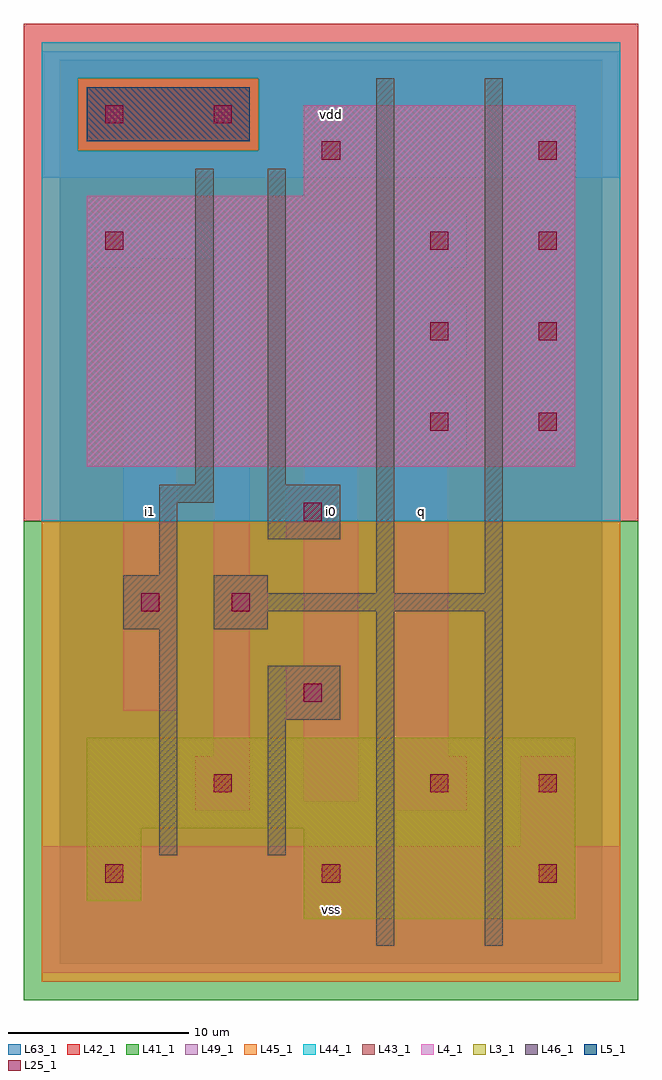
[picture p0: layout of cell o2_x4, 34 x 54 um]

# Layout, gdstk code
import gdstk
lib = gdstk.Library(unit=1e-6, precision=1e-09)
def R(c, l, rs):  # rectangles x0, y0, x1, y1
    for r in rs: c.add(gdstk.rectangle(r[:2], r[2:], *l))
def A(c, l, x, y, w, h, nx, ny, dx, dy):  # array of equal rectangles
    R(c, l, [(x+i*dx, y+j*dy, x+i*dx+w, y+j*dy+h) for i in range(nx) for j in range(ny)])
L3_1 = (3, 1)
L4_1 = (4, 1)
L5_1 = (5, 1)
L25_1 = (25, 1)
L41_1 = (41, 1)
L42_1 = (42, 1)
L43_1 = (43, 1)
L44_1 = (44, 1)
L45_1 = (45, 1)
L46_1 = (46, 1)
L49_1 = (49, 1)
L63_1 = (63, 1)

o2_x4 = lib.new_cell('o2_x4')
R(o2_x4, L3_1, [(13.5,2.5,28.5,7.5), (1.5,3.5,4.5,7.5), (1.5,7.5,28.5,12.5)])
R(o2_x4, L4_1, [(1.5,27.5,28.5,42.5), (13.5,42.5,28.5,47.5)])
R(o2_x4, L5_1, [(1.5,45.5,10.5,48.5)])
A(o2_x4, L25_1, 2.5, 4.5, 1, 1, 3, 1, 12, 0)
A(o2_x4, L25_1, 20.5, 29.5, 1, 1, 1, 3, 0, 5)
A(o2_x4, L25_1, 26.5, 29.5, 1, 1, 1, 4, 0, 5)
R(o2_x4, L25_1, [(8.5,9.5,9.5,10.5), (20.5,9.5,21.5,10.5), (26.5,9.5,27.5,10.5), (13.5,14.5,14.5,15.5), (4.5,19.5,5.5,20.5), (9.5,19.5,10.5,20.5), (13.5,24.5,14.5,25.5), (2.5,39.5,3.5,40.5), (14.5,44.5,15.5,45.5), (2.5,46.5,3.5,47.5), (8.5,46.5,9.5,47.5)])
R(o2_x4, L41_1, [(-2,-2,32,24.5)])
R(o2_x4, L42_1, [(-2,24.5,32,52)])
R(o2_x4, L43_1, [(13.5,2.5,28.5,7.5), (1.5,3.5,4.5,7.5), (1.5,7.5,28.5,12.5), (1.5,27.5,28.5,42.5), (13.5,42.5,28.5,47.5), (1.5,45.5,10.5,48.5)])
R(o2_x4, L44_1, [(-1,24.5,31,45), (-1,45,1,49), (11,45,31,49), (-1,49,31,51)])
R(o2_x4, L45_1, [(-1,-1,31,24.5), (1,45,11,49)])
R(o2_x4, L46_1, [(17.5,1,18.5,19.5), (23.5,1,24.5,19.5), (5.5,6,6.5,18.5), (11.5,6,12.5,13.5), (11.5,13.5,15.5,16.5), (3.5,18.5,6.5,21.5), (8.5,18.5,11.5,19.5), (8.5,19.5,24.5,20.5), (8.5,20.5,11.5,21.5), (17.5,20.5,18.5,49), (23.5,20.5,24.5,49), (5.5,21.5,6.5,25.5), (11.5,23.5,15.5,26.5), (5.5,25.5,8.5,26.5), (7.5,26.5,8.5,44), (11.5,26.5,12.5,44)])
A(o2_x4, L49_1, 18.5, 28.5, 4, 3, 1, 3, 0, 5)
R(o2_x4, L49_1, [(-1,-0.5,31,6.5), (25.5,6.5,28.5,11.5), (7.5,8.5,10.5,11.5), (18.5,8.5,22.5,11.5), (13.5,9,16.5,13.5), (8.5,11.5,10.5,18.5), (18.5,11.5,21.5,28.5), (12.5,13.5,16.5,16.5), (3.5,14,6.5,36), (13.5,16.5,16.5,23.5), (8.5,18.5,11.5,21.5), (8.5,21.5,10.5,39), (12.5,23.5,16.5,26.5), (13.5,26.5,16.5,41), (25.5,28.5,28.5,43.5), (18.5,31.5,21.5,33.5), (18.5,36.5,21.5,38.5), (1.5,38.5,4.5,39), (1.5,39,10.5,41), (1.5,41,4.5,41.5), (-1,43.5,31,50.5)])
R(o2_x4, L63_1, [(0,0,30,50)])
o2_x4.add(gdstk.Label('i1', (5,25), layer=49, texttype=1))
o2_x4.add(gdstk.Label('i1', (5,25), layer=49, texttype=1))
o2_x4.add(gdstk.Label('vss', (15,3), layer=49, texttype=1))
o2_x4.add(gdstk.Label('vss', (15,3), layer=49, texttype=1))
o2_x4.add(gdstk.Label('q', (20,25), layer=49, texttype=1))
o2_x4.add(gdstk.Label('q', (20,25), layer=49, texttype=1))
o2_x4.add(gdstk.Label('i0', (15,25), layer=49, texttype=1))
o2_x4.add(gdstk.Label('i0', (15,25), layer=49, texttype=1))
o2_x4.add(gdstk.Label('vdd', (15,47), layer=49, texttype=1))
o2_x4.add(gdstk.Label('vdd', (15,47), layer=49, texttype=1))

lib.write_gds('o2_x4.gds')
